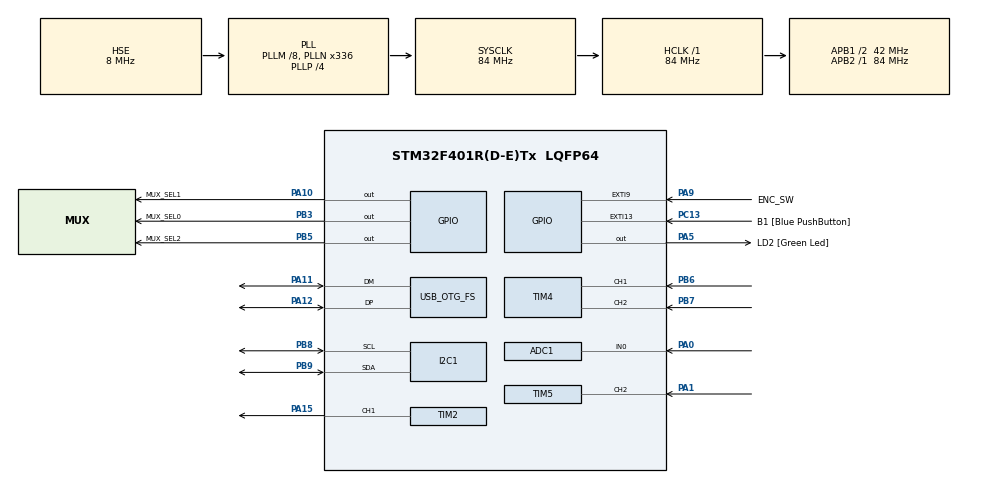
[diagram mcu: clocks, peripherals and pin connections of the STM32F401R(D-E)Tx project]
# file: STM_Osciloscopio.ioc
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ADC1.Channel-0\#ChannelRegularConversion=ADC_CHANNEL_0
ADC1.ClockPrescaler=ADC_CLOCK_SYNC_PCLK_DIV4
ADC1.ContinuousConvMode=DISABLE
ADC1.DMAContinuousRequests=ENABLE
ADC1.EOCSelection=ADC_EOC_SEQ_CONV
ADC1.ExternalTrigConv=ADC_EXTERNALTRIGCONV_T3_TRGO
ADC1.ExternalTrigConvEdge=ADC_EXTERNALTRIGCONVEDGE_RISING
ADC1.NbrOfConversionFlag=1
ADC1.Rank-0\#ChannelRegularConversion=1
ADC1.SamplingTime-0\#ChannelRegularConversion=ADC_SAMPLETIME_3CYCLES
ADC1.ScanConvMode=DISABLE
ADC1.master=1
Dma.ADC1.0.Direction=DMA_PERIPH_TO_MEMORY
Dma.ADC1.0.FIFOMode=DMA_FIFOMODE_DISABLE
Dma.ADC1.0.Instance=DMA2_Stream0
Dma.ADC1.0.MemDataAlignment=DMA_MDATAALIGN_WORD
Dma.ADC1.0.MemInc=DMA_MINC_ENABLE
Dma.ADC1.0.Mode=DMA_NORMAL
Dma.ADC1.0.PeriphDataAlignment=DMA_PDATAALIGN_WORD
Dma.ADC1.0.PeriphInc=DMA_PINC_DISABLE
Dma.ADC1.0.Priority=DMA_PRIORITY_LOW
Dma.Request0=ADC1
FREERTOS.Tasks01=defaultTask,0,128,StartDefaultTask,Default,NULL,Dynamic,NULL,NULL
I2C1.I2C_Mode=I2C_Fast
Mcu.Family=STM32F4
Mcu.Name=STM32F401R(D-E)Tx
Mcu.Package=LQFP64
NVIC.DMA2_Stream0_IRQn=true\:5\:0\:false\:false\:true\:true\:false\:true\:true
NVIC.EXTI9_5_IRQn=true\:5\:0\:false\:false\:true\:true\:true\:true\:true
NVIC.OTG_FS_IRQn=true\:5\:0\:false\:false\:true\:true\:false\:true\:true
NVIC.PriorityGroup=NVIC_PRIORITYGROUP_4
NVIC.TIM1_UP_TIM10_IRQn=true\:15\:0\:false\:false\:true\:false\:false\:true\:true
NVIC.TIM5_IRQn=true\:5\:0\:false\:false\:true\:true\:true\:true\:true
NVIC.TimeBase=TIM1_UP_TIM10_IRQn
NVIC.TimeBaseIP=TIM1
PA0-WKUP.Signal=ADCx_IN0
PA1.Signal=S_TIM5_CH2
PA10.GPIO_Label=MUX_SEL1
PA10.PinState=GPIO_PIN_SET
PA10.Signal=GPIO_Output
PA11.Mode=Device_Only
PA11.Signal=USB_OTG_FS_DM
PA12.Mode=Device_Only
PA12.Signal=USB_OTG_FS_DP
PA13.GPIO_Label=TMS
PA13.Mode=Serial_Wire
PA13.Signal=SYS_JTMS-SWDIO
PA14.GPIO_Label=TCK
PA14.Mode=Serial_Wire
PA14.Signal=SYS_JTCK-SWCLK
PA15.Signal=S_TIM2_CH1_ETR
PA5.GPIO_Label=LD2 [Green Led]
PA5.GPIO_Mode=GPIO_MODE_OUTPUT_PP
PA5.GPIO_PuPd=GPIO_NOPULL
PA5.GPIO_Speed=GPIO_SPEED_FREQ_LOW
PA5.Signal=GPIO_Output
PA9.GPIO_Label=ENC_SW
PA9.GPIO_ModeDefaultEXTI=GPIO_MODE_IT_FALLING
PA9.GPIO_PuPd=GPIO_PULLUP
PA9.Signal=GPXTI9
PB3.GPIO_Label=MUX_SEL0
PB3.PinState=GPIO_PIN_SET
PB3.Signal=GPIO_Output
PB5.GPIO_Label=MUX_SEL2
PB5.GPIO_Speed=GPIO_SPEED_FREQ_LOW
PB5.PinState=GPIO_PIN_SET
PB5.Signal=GPIO_Output
PB6.Signal=S_TIM4_CH1
PB7.Signal=S_TIM4_CH2
PB8.Mode=I2C
PB8.Signal=I2C1_SCL
PB9.Mode=I2C
PB9.Signal=I2C1_SDA
PC13-ANTI_TAMP.GPIO_Label=B1 [Blue PushButton]
PC13-ANTI_TAMP.GPIO_ModeDefaultEXTI=GPIO_MODE_IT_FALLING
PC13-ANTI_TAMP.GPIO_PuPd=GPIO_PULLUP
PC13-ANTI_TAMP.Signal=GPXTI13
PC14-OSC32_IN.Mode=LSE-External-Oscillator
PC14-OSC32_IN.Signal=RCC_OSC32_IN
PC15-OSC32_OUT.Mode=LSE-External-Oscillator
PC15-OSC32_OUT.Signal=RCC_OSC32_OUT
PH0\ -\ OSC_IN.Mode=HSE-External-Clock-Source
PH0\ -\ OSC_IN.Signal=RCC_OSC_IN
PH1\ -\ OSC_OUT.Mode=HSE-External-Clock-Source
PH1\ -\ OSC_OUT.Signal=RCC_OSC_OUT
ProjectManager.HeapSize=0x200
ProjectManager.StackSize=0x400
ProjectManager.TargetToolchain=STM32CubeIDE
RCC.48MHZClocksFreq_Value=48000000
RCC.AHBFreq_Value=84000000
RCC.APB1CLKDivider=RCC_HCLK_DIV2
RCC.APB1Freq_Value=42000000
RCC.APB1TimFreq_Value=84000000
RCC.APB2Freq_Value=84000000
RCC.APB2TimFreq_Value=84000000
RCC.CortexFreq_Value=84000000
RCC.HCLKFreq_Value=84000000
RCC.HSE_VALUE=8000000
RCC.HSI_VALUE=16000000
RCC.PLLM=8
RCC.PLLN=336
RCC.PLLP=RCC_PLLP_DIV4
RCC.PLLQ=7
RCC.SYSCLKFreq_VALUE=84000000
RCC.SYSCLKSource=RCC_SYSCLKSOURCE_PLLCLK
RCC.VCOOutputFreq_Value=336000000
SH.ADCx_IN0.0=ADC1_IN0,IN0
SH.S_TIM2_CH1_ETR.0=TIM2_CH1,Output Compare1 CH1
SH.S_TIM4_CH1.0=TIM4_CH1,Encoder_Interface
SH.S_TIM4_CH2.0=TIM4_CH2,Encoder_Interface
SH.S_TIM5_CH2.0=TIM5_CH2,Input_Capture2_from_TI2
TIM2.Channel-Output\ Compare1\ CH1=TIM_CHANNEL_1
TIM2.OCMode_1=TIM_OCMODE_TOGGLE
TIM2.Period=735
TIM2.Prescaler=1
TIM2.Pulse-Output\ Compare1\ CH1=0
TIM3.Period=60
TIM3.Prescaler=1
TIM3.TIM_MasterOutputTrigger=TIM_TRGO_UPDATE
TIM4.IC1Filter=10
TIM4.IC1Polarity=TIM_ICPOLARITY_FALLING
TIM4.IC2Filter=10
TIM4.IC2Polarity=TIM_ICPOLARITY_FALLING
TIM5.Channel-Input_Capture2_from_TI2=TIM_CHANNEL_2
TIM5.Prescaler=41999
USB_DEVICE.CLASS_NAME_FS=CUSTOM_HID
USB_DEVICE.VirtualMode-CUSTOM_HID_FS=CustomHid
USB_DEVICE.VirtualModeFS=Custom_Hid_FS
USB_OTG_FS.VirtualMode=Device_Only
VP_FREERTOS_VS_CMSIS_V1.Mode=CMSIS_V1
VP_SYS_VS_tim1.Mode=TIM1
VP_TIM3_VS_ClockSourceINT.Mode=Internal
VP_TIM5_VS_ClockSourceINT.Mode=Internal
VP_USB_DEVICE_VS_USB_DEVICE_CUSTOM_HID_FS.Mode=CUSTOM_HID_FS
board=NUCLEO-F401RE

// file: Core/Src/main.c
/* USER CODE BEGIN Header */
/**
  ******************************************************************************
  * @file           : main.c
  * @brief          : Main program body
  ******************************************************************************
  * @attention
  *
  * Copyright (c) 2023 STMicroelectronics.
  * All rights reserved.
  *
  * This software is licensed under terms that can be found in the LICENSE file
  * in the root directory of this software component.
  * If no LICENSE file comes with this software, it is provided AS-IS.
  *
  ******************************************************************************
  */
/* USER CODE END Header */
#include "main.h"
#include "cmsis_os.h"
#include "usb_device.h"

/* USER CODE BEGIN Includes */
#include "ssd1306.h"
#include <math.h>
/* USER CODE END Includes */

/* USER CODE BEGIN PD */

#define ATEN_03		0	//A0
#define ATEN_05		1	//A1
#define AMP_1		2	//A2
#define AMP_3		3	//A3
#define AMP_5		4	//A4
#define AMP_10		5	//A5
#define AMP_31		6	//A6
#define AMP_50		7	//A7

#define MAX_SIZE			512

#define	ENC_F1		1
#define	ENC_F2		2
#define	ENC_F3		3
#define	ENC_F4		4
#define	ENC_F5		5
#define	ENC_F6		6
#define	ENC_F7		7

#define FS_1		42857
#define FS_2		10769
#define FS_3		2675
#define FS_4		667
#define FS_5		168
#define FS_6		60
#define FS_7		30

#define AMPLITUD	0
#define BASE_TEMP	1
#define TRIGGER		2
#define DEBOUNCE	200
#define VALOR_ACT	((int)-1)

  /*
  htim3.Init.Period = 60;	fs = 700kHz  fmin = 7,142KHz	fmax = 28,57kHz
  htim3.Init.Period = 168;	fs = 250kHz  fmin = 2560Hz fmax = 10,24kHz
  htim3.Init.Period = 667;  fs = 63KHz   fmin = 640Hz fmax = 2560Hz

  htim3.Init.Period = 2675; fs=15,7KHz fmin = 160Hz fmax = 640Hz
  htim3.Init.Period = 10769; fs=3,9KHz fmin = 40Hz fmax = 160Hz
  htim3.Init.Period = 42857; fs=980Hz fmin = 10Hz fmax = 40Hz
  */
/* USER CODE END PD */

ADC_HandleTypeDef hadc1;
DMA_HandleTypeDef hdma_adc1;

I2C_HandleTypeDef hi2c1;

TIM_HandleTypeDef htim2;
TIM_HandleTypeDef htim3;
TIM_HandleTypeDef htim4;
TIM_HandleTypeDef htim5;

osThreadId defaultTaskHandle;
/* USER CODE BEGIN PV */
uint8_t buffer_usb[2*MAX_SIZE];
uint32_t buffer_adc[MAX_SIZE];
uint32_t buffer_display[MAX_SIZE/2];

QueueHandle_t qEncoder;
QueueHandle_t qTrigger;
QueueHandle_t qRMS;
QueueHandle_t qDelay;
QueueHandle_t qEscala;
uint32_t freqaux = 0;
uint8_t buffer[0x40] = { 0 };

uint8_t bufferAUX[0x64] = "F010.65KRX.XXVFS7G0";
/*
 * bufferAUX[0] 	= F
 * bufferAUX[7]		= K
 *
 * bufferAUX[8] 	= R
 * bufferAUX[13] 	= V
 *
 * bufferAUX[15]	= A
 * buffer
 *
 *
 *
 * */
//const float parametro;
//const float parametro2;
//								"F010.65KHzR707.7mVA3.3VFS0"
/* USER CODE END PV */

void SystemClock_Config(void);
static void MX_GPIO_Init(void);
static void MX_DMA_Init(void);
static void MX_ADC1_Init(void);
static void MX_I2C1_Init(void);
static void MX_TIM2_Init(void);
static void MX_TIM3_Init(void);
static void MX_TIM5_Init(void);
static void MX_TIM4_Init(void);
void StartDefaultTask(void const * argument);

/* USER CODE BEGIN PFP */
/*
void int_to_char(uint32_t num, char texto[]){

	uint32_t buffer = num;
	int contador = 0;
	int pos = 0;
	int digito = 0;

	while(buffer > 0){
		buffer /= 10;
		contador++;
	}

	texto[contador] = '\0';
	buffer = num;

	pos = contador - 1;

	while(pos >= 0){

		digito = buffer % 10;
		buffer /= 10;
		texto[pos] = digito + '0';
		pos--;
	}
}
*/
void rms_to_char(float rms, char rms_char[]){
	/*RMS = RX.XX/R.XXX*/
	int entero = (int)rms;							// 1,648 --> entero = 1
	int decimal = (int)((rms - entero)*1000);		// 1,648 --> decimal = 648

	int decimal_3 = decimal % 10;					// 1,648 --> dec3 = 8;
	int decimal_2 = (decimal/10) % 10;				// 1,648 --> dec2 = 4;
	int decimal_1 = decimal / 100;					// 1,648 --> dec1 = 6:

	if(entero == 0) {

		rms_char[0] = '.';
		rms_char[1] = decimal_1 + '0';

		if(decimal_3 >= 5 && decimal_2 < 9) rms_char[2] = (decimal_2 + 1) + '0';

		else if(decimal_3 >= 5 && decimal_3 == 9){
			rms_char[1]++;
			rms_char[2] = '0';
		}

		else if(decimal_3 < 5 && decimal_3 >= 0) rms_char[2] = decimal_2 + '0';

		bufferAUX[8] = 'R';
		bufferAUX[9] = rms_char[0];
		bufferAUX[10] = decimal_1 + '0';
		bufferAUX[11] = decimal_2 + '0';
		bufferAUX[12] = decimal_3 + '0';
		bufferAUX[13] = 'V';

	}
	else if(entero > 0){

		rms_char[0] = entero + '0';
		rms_char[1] = '.';

		if(decimal_2 >= 5 && decimal_1 < 9) rms_char[2] = (decimal_1+1) + '0';

		else if(decimal_2 >= 5 && decimal_1 == 9){
			rms_char[0]++;
			rms_char[2] = '0';
		}

		else if(decimal_2 < 5) rms_char[2] = decimal_1 + '0';

		bufferAUX[8] = 'R';
		bufferAUX[9] = entero + '0';
		bufferAUX[10] = '.';
		bufferAUX[11] = decimal_1 + '0';
		bufferAUX[12] = decimal_2 + '0';
		bufferAUX[13] = 'V';
	}
	rms_char[3] = 'V';
	rms_char[4] = '\0';
}

void freq_to_char(uint32_t Frecuencia, uint8_t *pData){

	Frecuencia = (uint32_t)(1.024 * ((float) Frecuencia) -2.1196);

	// Frecuencias entre 100K y 1M
	if(Frecuencia >= 100000 && Frecuencia < 1000000)				//f = 154983
	{
		pData[0] = (uint8_t)((Frecuencia/100000) + '0');			// 154983/ 100000	= 1
		Frecuencia %=100000;										// 154983 % 100000	= 54983
		pData[1] = (uint8_t)((Frecuencia/10000) + '0');				// 54983 / 10000	= 5
		Frecuencia %=10000;											// 54983 % 10000	= 4983
		pData[2] = (uint8_t)((Frecuencia/1000) + '0');				// 4983/ 1000 		= 4
		pData[3] = '.';												//					  ,
		Frecuencia %=1000;											// 4983 % 1000		= 983
		pData[4] = (uint8_t)((Frecuencia/100) + '0');				// 	983	/ 100		= 9
		pData[5] = 'K';
		bufferAUX[1] = pData[0]; //1
		bufferAUX[2] = pData[1];  //5
		bufferAUX[3] = pData[2]; //4
		bufferAUX[4] = pData[3]; //.
		bufferAUX[5] = pData[4]; //9
		Frecuencia  %= 100;
		bufferAUX[6] = (uint8_t)((Frecuencia/10) + '0');
		bufferAUX[7] = pData[5]; //k
	}

	// Frecuencias entre 10K y 100K
	else if(Frecuencia >= 10000 && Frecuencia < 100000){

		pData[0] = (uint8_t)((Frecuencia/10000) + '0'); 			// 15310/10000  = 1
		Frecuencia %=10000;                             			// 15310 % 10000 = 5300
		pData[1] = (uint8_t)((Frecuencia/1000) + '0');  			// 5310 / 1000 = 5
		Frecuencia %= 1000;                             			// 5310 % 1000 = 300
		pData[2] = '.';
		pData[3] = (uint8_t)((Frecuencia/100) + '0');   			// 310 / 100 = 3
		pData[4] = 'K';
		pData[5] = 'H';
		bufferAUX[2] = pData[0];
		bufferAUX[3] = pData[1];
		bufferAUX[4] = pData[2];
		bufferAUX[5] = pData[3];
		Frecuencia  %= 100;
		bufferAUX[6] = (uint8_t)((Frecuencia/10) + '0');
		bufferAUX[7] = pData[4];
	}

	// Frecuencias entre 0 y 9999
	else if(Frecuencia > 0){

		if(Frecuencia <1000){
			pData[0] = ' ';
			bufferAUX[2] = '0';
		} else {
			pData[0] = (uint8_t)((Frecuencia/1000) + '0');		// 9375 / 1000 = 9
			bufferAUX[2] = pData[0];
		}

		Frecuencia %= 1000;                          				// 9375 % 1000 = 375
		if(Frecuencia < 100 && pData[0] == ' '){
			pData[1] = ' ';
			bufferAUX[3] = '0';
		} else {
			pData[1] = (uint8_t)((Frecuencia/100) + '0');  		// 375 / 100 = 3
			bufferAUX[3] = pData[1];
		}

		Frecuencia %= 100;                             				// 375 % 100 = 75
		if(Frecuencia < 10 && pData[1] == ' '){
			pData[2] = ' ';
			bufferAUX[4] = '0';
		} else {
			pData[2] = (uint8_t)((Frecuencia/10) + '0');   		// 75 / 10 = 7
			bufferAUX[4] = pData[2];
		}
		Frecuencia %= 10;                              				// 75 % 10 = 5
		pData[3] = (uint8_t)(Frecuencia + '0');        				// 5

		pData[4] = 'H';
		pData[5] = 'z';
		bufferAUX[5] = pData[3];
		bufferAUX[6] = pData[4];
		bufferAUX[7] = pData[5];
		// F0XX.XXK
		// F0XXXXHz
	}

	pData[6] = '\0';

}

float map(float x, float in_min, float in_max, float out_min, float out_max){

	return (x - in_min) * (out_max - out_min) / (in_max - in_min) + out_min;
}

void display_plot_escala(int contador){

	switch(contador){

		case AMP_1://A2
			ssd1306_SetCursor(115, 55);
			ssd1306_WriteString("x1", Font_6x8, White);
			ssd1306_SetCursor(6, 9);
			ssd1306_WriteString("1,6", Font_6x8, White);
			ssd1306_SetCursor(17, 33);
			ssd1306_WriteString("0", Font_6x8, White);
			ssd1306_SetCursor(0, 56);
			ssd1306_WriteString("-1,6", Font_6x8, White);
		break;

		case AMP_3://A3
			ssd1306_SetCursor(115, 55);
			ssd1306_WriteString("x3", Font_6x8, White);
			ssd1306_SetCursor(6, 9);
			ssd1306_WriteString("0,6", Font_6x8, White);
			ssd1306_SetCursor(17, 33);
			ssd1306_WriteString("0", Font_6x8, White);
			ssd1306_SetCursor(0, 56);
			ssd1306_WriteString("-0,6", Font_6x8, White);
		break;

		case AMP_5://A4
			ssd1306_SetCursor(115, 55);
			ssd1306_WriteString("x5", Font_6x8, White);
			ssd1306_SetCursor(6, 9);
			ssd1306_WriteString("0,3", Font_6x8, White);
			ssd1306_SetCursor(17, 33);
			ssd1306_WriteString("0", Font_6x8, White);
			ssd1306_SetCursor(0, 56);
			ssd1306_WriteString("-0,3", Font_6x8, White);
		break;

		case AMP_10://A5
			ssd1306_SetCursor(109, 55);
			ssd1306_WriteString("x10", Font_6x8, White);
			ssd1306_SetCursor(6, 9);
			ssd1306_WriteString("0,1", Font_6x8, White);
			ssd1306_SetCursor(17, 33);
			ssd1306_WriteString("0", Font_6x8, White);
			ssd1306_SetCursor(0, 56);
			ssd1306_WriteString("-0,1", Font_6x8, White);
		break;

		case AMP_31://A6
			ssd1306_SetCursor(109, 55);
			ssd1306_WriteString("x31", Font_6x8, White);
			ssd1306_SetCursor(6, 9);
			ssd1306_WriteString("52m", Font_6x8, White);
			ssd1306_SetCursor(17, 33);
			ssd1306_WriteString("0", Font_6x8, White);
			ssd1306_SetCursor(0, 56);
			ssd1306_WriteString("-52m", Font_6x8, White);
		break;

		case AMP_50://A7
			ssd1306_SetCursor(109, 55);
			ssd1306_WriteString("x50", Font_6x8, White);
			ssd1306_SetCursor(6, 9);
			ssd1306_WriteString("33m", Font_6x8, White);
			ssd1306_SetCursor(17, 33);
			ssd1306_WriteString("0", Font_6x8, White);
			ssd1306_SetCursor(0, 56);
			ssd1306_WriteString("-33m", Font_6x8, White);
		break;

		case ATEN_03://A0
			ssd1306_SetCursor(109, 55);
			ssd1306_WriteString("x.3", Font_6x8, White);
			ssd1306_SetCursor(17, 9);
			ssd1306_WriteString("6", Font_6x8, White);
			ssd1306_SetCursor(17, 33);
			ssd1306_WriteString("0", Font_6x8, White);
			ssd1306_SetCursor(11, 56);
			ssd1306_WriteString("-6", Font_6x8, White);
		break;

		case ATEN_05://A1
			ssd1306_SetCursor(109, 55);
			ssd1306_WriteString("x.5", Font_6x8, White);
			ssd1306_SetCursor(6, 9);
			ssd1306_WriteString("3,3", Font_6x8, White);
			ssd1306_SetCursor(17, 33);
			ssd1306_WriteString("0", Font_6x8, White);
			ssd1306_SetCursor(0, 56);
			ssd1306_WriteString("-3,3", Font_6x8, White);
		break;

		default://A2
			ssd1306_SetCursor(115, 55);
			ssd1306_WriteString("x1", Font_6x8, White);
			ssd1306_SetCursor(6, 9);
			ssd1306_WriteString("1,6", Font_6x8, White);
			ssd1306_SetCursor(17, 33);
			ssd1306_WriteString("0", Font_6x8, White);
			ssd1306_SetCursor(0, 56);
			ssd1306_WriteString("-1,6", Font_6x8, White);
		break;
	}
}

void display_plot_grilla(void){

	ssd1306_Fill(Black);

	ssd1306_SetCursor(0, 0);

	ssd1306_VLine(26, 9, 55, White);   // left vertical line
	ssd1306_VLine(127, 9, 3, White);   // right vertical line up
	ssd1306_VLine(127, 60, 3, White);  // right vertical line bottom

	ssd1306_HLine(24, 9, 7, White);    // Max value auxiliary mark
	ssd1306_HLine(24, 36, 2, White);
	ssd1306_HLine(24, 63, 7, White);

	ssd1306_HLine(51, 9, 3, White);    // Max value auxiliary mark
	ssd1306_HLine(51, 63, 3, White);

	ssd1306_HLine(76, 9, 3, White);    // Max value auxiliary mark
	ssd1306_HLine(76, 63, 3, White);

	ssd1306_HLine(101, 9, 3, White);   // Max value auxiliary mark
	ssd1306_HLine(101, 63, 3, White);

	ssd1306_HLine(123, 9, 5, White);   // right side Max value auxiliary mark
	ssd1306_HLine(123, 63, 5, White);

	for (int x = 26; x <= 128; x += 5){
	  ssd1306_HLine(x, 36, 2, White);  // Draw the center line (horizontal line) with a dotted line
	}

	for (int x = (127 - 25); x > 30; x -= 25){
		for (int y = 10; y < 63; y += 5){
			ssd1306_VLine(x, y, 2, White); // Draw 3 vertical lines with dotted lines
		}
	}

	//ssd1306_SetCursor(14, 0);
	//ssd1306_WriteString("XX.XKH rmsX.XV XXuS", Font_6x8, White);

}

void display_plot_trigger(int trigger){

	int trigger_actual = 0;

	trigger_actual = map(trigger, 0, 4095, 63, 9);

	// dibujo el triangulo
	ssd1306_VLine(127, trigger_actual-2, 4, White);
	ssd1306_VLine(126, trigger_actual-1, 2, White);
	ssd1306_DrawPixel(125, trigger_actual, White);
}

void display_plot_signal(void){

	int y3 = 0, y4 = 0;
	int x3 = 0, x4 = 0;
	int trigger_point = 1;
	int nivel_trigger = 0;

	if(uxQueueMessagesWaiting(qTrigger) == 1)
		xQueueReceive(qTrigger, &nivel_trigger, portMAX_DELAY);

	for(int i=0; i<=98; i++){

		if((buffer_display[i] > nivel_trigger ) && (buffer_display[i+1]) < nivel_trigger){
			trigger_point = i;
			break;
		}
	}

	for(int k=0; k<=98; k++){

		x3 = k + trigger_point;
		x4 = x3 + 1;

		y3 = map(buffer_display[x3], 0, 4095, 63, 9);
		y4 = map(buffer_display[x4], 0, 4095, 63, 9);

		ssd1306_Line(k + 27, y3, k + 28, y4, White);
	 }
	display_plot_trigger(nivel_trigger);
	if( buffer[0] == '@' || buffer[0] == 'D')
		HAL_ADC_Start_DMA(&hadc1, buffer_adc, MAX_SIZE);
}

void display_plot_rms(void){

	char rms_valor[5];
	static float valor = 0.0;
	static float escala = 1;

	if(uxQueueMessagesWaiting(qEscala) == 1)
	{
		xQueueReceive(qEscala, &escala, portMAX_DELAY);
	}
	if(uxQueueMessagesWaiting(qRMS) == 1 )
	{
		xQueueReceive(qRMS, &valor, portMAX_DELAY);
		valor /= escala;
	}
	rms_to_char(valor, rms_valor);
	ssd1306_SetCursor(56, 0);
	ssd1306_WriteString("rms",Font_6x8,White);
	ssd1306_SetCursor(74, 0);
	ssd1306_WriteString(rms_valor,Font_6x8,White);
}

void display_plot_tiempo(int base_temp){

	ssd1306_SetCursor(104,0);

	switch(base_temp){

		case ENC_F1: ssd1306_WriteString(" 25m", Font_6x8, White);
		break;

		case ENC_F2: ssd1306_WriteString("6.3m", Font_6x8, White);
		break;

		case ENC_F3: ssd1306_WriteString("1,6m", Font_6x8, White);
		break;

		case ENC_F4: ssd1306_WriteString("389u", Font_6x8, White);
		break;

		case ENC_F5: ssd1306_WriteString(" 98u", Font_6x8, White);
		break;

		case ENC_F6: ssd1306_WriteString(" 35u", Font_6x8, White);
		break;

		case ENC_F7: ssd1306_WriteString(" 17u", Font_6x8, White);
		break;
	}
}

void display_plot_freq(int freq){

	uint8_t str_freq[7] = {'\0'};
	static int frecuencia = 0;

	// La variable se actualiza en el callback
	// En el main le voy a mandar -1 para que no actualice el valor
	// Pero que el display siga mostrando un valor
	if(freq >= 0) frecuencia = freq;

	ssd1306_SetCursor(14, 0);
	freq_to_char(frecuencia, str_freq);
	ssd1306_WriteString((char *)str_freq,Font_6x8, White);
}

void display_plot_encoder(int encoder_mode){

	ssd1306_SetCursor(0, 0);

	switch(encoder_mode){

		case AMPLITUD: ssd1306_WriteString("A", Font_6x8, White); break;

		case BASE_TEMP: ssd1306_WriteString("t", Font_6x8, White);break;

		case TRIGGER: ssd1306_WriteString("T", Font_6x8, White); break;
	}
}

void mux_select_escala(int contador){

	switch(contador){

		case AMP_1://A2
			HAL_GPIO_WritePin(MUX_SEL0_GPIO_Port, MUX_SEL0_Pin, GPIO_PIN_RESET);
			HAL_GPIO_WritePin(MUX_SEL1_GPIO_Port, MUX_SEL1_Pin, GPIO_PIN_SET);
			HAL_GPIO_WritePin(MUX_SEL2_GPIO_Port, MUX_SEL2_Pin, GPIO_PIN_RESET);
		break;

		case AMP_3://A3
			HAL_GPIO_WritePin(MUX_SEL0_GPIO_Port, MUX_SEL0_Pin, GPIO_PIN_SET);
			HAL_GPIO_WritePin(MUX_SEL1_GPIO_Port, MUX_SEL1_Pin, GPIO_PIN_SET);
			HAL_GPIO_WritePin(MUX_SEL2_GPIO_Port, MUX_SEL2_Pin, GPIO_PIN_RESET);
		break;

		case AMP_5://A4
			HAL_GPIO_WritePin(MUX_SEL0_GPIO_Port, MUX_SEL0_Pin, GPIO_PIN_RESET);
			HAL_GPIO_WritePin(MUX_SEL1_GPIO_Port, MUX_SEL1_Pin, GPIO_PIN_RESET);
			HAL_GPIO_WritePin(MUX_SEL2_GPIO_Port, MUX_SEL2_Pin, GPIO_PIN_SET);
		break;

		case AMP_10://A5
			HAL_GPIO_WritePin(MUX_SEL0_GPIO_Port, MUX_SEL0_Pin, GPIO_PIN_SET);
			HAL_GPIO_WritePin(MUX_SEL1_GPIO_Port, MUX_SEL1_Pin, GPIO_PIN_RESET);
			HAL_GPIO_WritePin(MUX_SEL2_GPIO_Port, MUX_SEL2_Pin, GPIO_PIN_SET);
		break;

		case AMP_31://A6
			HAL_GPIO_WritePin(MUX_SEL0_GPIO_Port, MUX_SEL0_Pin, GPIO_PIN_RESET);
			HAL_GPIO_WritePin(MUX_SEL1_GPIO_Port, MUX_SEL1_Pin, GPIO_PIN_SET);
			HAL_GPIO_WritePin(MUX_SEL2_GPIO_Port, MUX_SEL2_Pin, GPIO_PIN_SET);
		break;

		case AMP_50://A7
			HAL_GPIO_WritePin(MUX_SEL0_GPIO_Port, MUX_SEL0_Pin, GPIO_PIN_SET);
			HAL_GPIO_WritePin(MUX_SEL1_GPIO_Port, MUX_SEL1_Pin, GPIO_PIN_SET);
			HAL_GPIO_WritePin(MUX_SEL2_GPIO_Port, MUX_SEL2_Pin, GPIO_PIN_SET);
		break;

		case ATEN_03://A0
			HAL_GPIO_WritePin(MUX_SEL0_GPIO_Port, MUX_SEL0_Pin, GPIO_PIN_RESET);
			HAL_GPIO_WritePin(MUX_SEL1_GPIO_Port, MUX_SEL1_Pin, GPIO_PIN_RESET);
			HAL_GPIO_WritePin(MUX_SEL2_GPIO_Port, MUX_SEL2_Pin, GPIO_PIN_RESET);
		break;

		case ATEN_05://A1
			HAL_GPIO_WritePin(MUX_SEL0_GPIO_Port, MUX_SEL0_Pin, GPIO_PIN_SET);
			HAL_GPIO_WritePin(MUX_SEL1_GPIO_Port, MUX_SEL1_Pin, GPIO_PIN_RESET);
			HAL_GPIO_WritePin(MUX_SEL2_GPIO_Port, MUX_SEL2_Pin, GPIO_PIN_RESET);
		break;

		default://A2
			HAL_GPIO_WritePin(MUX_SEL0_GPIO_Port, MUX_SEL0_Pin, GPIO_PIN_RESET);
			HAL_GPIO_WritePin(MUX_SEL1_GPIO_Port, MUX_SEL1_Pin, GPIO_PIN_SET);
			HAL_GPIO_WritePin(MUX_SEL2_GPIO_Port, MUX_SEL2_Pin, GPIO_PIN_RESET);
		break;
	}
}

void ADC_sampling(int periodo){

	int delay = 20;
	if(periodo == FS_1)
	{
		delay = 270;
		xQueueSend(qDelay, &delay, portMAX_DELAY);
	}
	else if(periodo == FS_2)
	{
		delay = 70;
		xQueueSend(qDelay, &delay, portMAX_DELAY);
	}
	else
		xQueueSend(qDelay, &delay, portMAX_DELAY);

	HAL_TIM_Base_Stop(&htim3);

	htim3.Init.Period = periodo;
	HAL_TIM_Base_Init(&htim3);

	HAL_TIM_Base_Start(&htim3);
}

void adc_select_frecuencia(int contador){

	switch(contador){

		case ENC_F1:
			ADC_sampling(FS_1);
			bufferAUX[16] = ENC_F1 + '0';
			break;

		case ENC_F2:
			ADC_sampling(FS_2);
			bufferAUX[16] = ENC_F2 + '0';
			break;

		case ENC_F3:
			ADC_sampling(FS_3);
			bufferAUX[16] = ENC_F3 + '0';
			break;

		case ENC_F4:
			ADC_sampling(FS_4);
			bufferAUX[16] = ENC_F4 + '0';
			break;

		case ENC_F5:
			ADC_sampling(FS_5);
			bufferAUX[16] = ENC_F5 + '0';
			break;

		case ENC_F6:
			ADC_sampling(FS_6);
			bufferAUX[16] = ENC_F6 + '0';
			break;

		case ENC_F7:
			ADC_sampling(FS_7);
			bufferAUX[16] = ENC_F7 + '0';
			break;
	}
}

float modificar_escala(int contador){

	float variable = 1;
	switch(contador){

		case ATEN_03:
			variable = 0.287;
			bufferAUX[18] = ATEN_03 + '0';
			break;

		case ATEN_05:
			variable = 0.5;
			bufferAUX[18] = ATEN_05 + '0';
			break;

		case AMP_1:
			variable = 1;
			bufferAUX[18] = AMP_1 + '0';
			break;

		case AMP_3:
			variable = 3.13;
			bufferAUX[18] = AMP_3 + '0';
			break;

		case AMP_5:
			variable = 5;
			bufferAUX[18] = AMP_5 + '0';
			break;

		case AMP_10:
			variable = 10;
			bufferAUX[18] = AMP_10 + '0';
			break;

		case AMP_31:
			variable = 31.33;
			bufferAUX[18] = AMP_31 + '0';
			break;

		case AMP_50:
			variable = 50;
			bufferAUX[18] = AMP_50 + '0';
			break;
	}
	return variable;
}

void encoder_pos(void){

	static int16_t counter_act = 0;
	static int16_t counter_viejo = 0;

	static int counter_amp = AMP_1;
	static int counter_temp = ENC_F6;
	static int seleccion = 0;
	static int trigger_level = 2090;
	static float scale = 1;

	counter_act = TIM4->CNT/2;

	if(uxQueueMessagesWaiting(qEncoder) == 1)
		xQueueReceive(qEncoder, &seleccion, portMAX_DELAY);

	switch(seleccion){

		case AMPLITUD: //AMPLITUD

			if(counter_act > counter_viejo && counter_amp < 7)
			{
				counter_amp++;
				scale = modificar_escala(counter_amp);
				xQueueSend(qEscala,&scale,portMAX_DELAY);
			}
			else if(counter_act > counter_viejo && counter_amp == 7)
			{
				counter_amp = AMP_1;
				scale = modificar_escala(counter_amp);
				xQueueSend(qEscala,&scale,portMAX_DELAY);
			}

			else if(counter_act < counter_viejo && counter_amp > 0)
			{
				counter_amp--;
				scale = modificar_escala(counter_amp);
				xQueueSend(qEscala,&scale,portMAX_DELAY);
			}

			mux_select_escala(counter_amp);

		break;

		case BASE_TEMP: //BASE TEMPORAL

			if(counter_act > counter_viejo && counter_temp < 7){
				counter_temp++;
				adc_select_frecuencia(counter_temp);
			}

			else if(counter_act < counter_viejo && counter_temp > 1){
				counter_temp--;
				adc_select_frecuencia(counter_temp);
			}

			break;

		case TRIGGER: // NIVEL TRIGGER

			if(counter_act > counter_viejo && trigger_level < 3990)
				trigger_level+=100;

			else if(counter_act > counter_viejo && trigger_level == 3990)
				trigger_level = 90;

			if(counter_act < counter_viejo && trigger_level >= 190)
				trigger_level-=100;
			else if(counter_act < counter_viejo && trigger_level == 90)
				trigger_level = 3990;
		break;

		default: break;
	}
	xQueueSend(qTrigger,&trigger_level,portMAX_DELAY);

	display_plot_escala(counter_amp);
	display_plot_tiempo(counter_temp);
	display_plot_encoder(seleccion);

	counter_viejo = counter_act;
}
/* ------------------------ Tareas Free RTOS ------------------------ */

void Init_Sistema(void *pvParameters){

	ssd1306_Init();
	MX_USB_DEVICE_Init();
	HAL_TIM_OC_Start(&htim2, TIM_CHANNEL_1);
	HAL_ADC_Start_DMA(&hadc1, buffer_adc, MAX_SIZE);
	HAL_TIM_Base_Start(&htim3);
	HAL_TIM_IC_Start_IT(&htim5, TIM_CHANNEL_2);
	HAL_TIM_Encoder_Start_IT(&htim4, TIM_CHANNEL_ALL);
	mux_select_escala(AMP_1);
	buffer[0] = '@';
	vTaskDelete(NULL);
}

void Mostrar_pantalla(void *pvParameters){

	int delay_display = 0;
	while(1){

		if(uxQueueMessagesWaiting(qDelay) == 1)
			xQueueReceive(qDelay, &delay_display, portMAX_DELAY);

		display_plot_grilla();
		display_plot_signal();
		display_plot_freq(VALOR_ACT);
		display_plot_rms();
		encoder_pos();
		ssd1306_UpdateScreen();
		vTaskDelay(delay_display/portTICK_RATE_MS);
	}
}

void Cambiar_Modo(void *pvParameters){

}

void Enviar_USB(void *pvParameters){

}

/* --------------------------- Callbacks --------------------------- */

void HAL_GPIO_EXTI_Callback(uint16_t GPIO_Pin){

	BaseType_t xHigherPriorityTaskWoken = pdFALSE;

	static uint32_t previousMillis = 0;
	uint32_t currentMillis = 0;
	static int encoder = 0;

	currentMillis = HAL_GetTick();
	if (GPIO_Pin == GPIO_PIN_9 && (currentMillis - previousMillis > DEBOUNCE))
	{
		previousMillis = currentMillis;
		encoder++;
		encoder%=3;

		xQueueSendFromISR(qEncoder,&encoder,&xHigherPriorityTaskWoken);
		portYIELD_FROM_ISR( xHigherPriorityTaskWoken )
	}
}

void HAL_ADC_ConvHalfCpltCallback(ADC_HandleTypeDef* hadc){

	for(int i = 0; i<MAX_SIZE/2; i++){
		buffer_display[i] = buffer_adc[i];
		buffer_usb[i] = buffer_adc[i];
	}
}

void HAL_ADC_ConvCpltCallback(ADC_HandleTypeDef* hadc){

	BaseType_t xHigherPriorityTaskWoken = pdFALSE;

	float mean = 0.0;
	float suma = 0.0;
	float valorMax = 0.0;
	float RMS = 0.0;

	for(int i = 0; i<MAX_SIZE/2; i++){

		buffer_display[i] = buffer_adc[i+256];
		buffer_usb[i + 256] = buffer_adc[i +256];
		mean += buffer_adc[i];
	}

	mean = 2*mean/MAX_SIZE;
	int j = 0;
	for(int i=0; i<MAX_SIZE; i++){
		buffer_usb[j] = (uint8_t)((buffer_adc[i]>>8)&0xFF);
		buffer_usb[j+1] = (uint8_t)((buffer_adc[i])&0xFF);
		j+=2;
		suma = (float)(buffer_adc[i]) - mean;
		suma = suma*(3.3/4095);
		valorMax = suma*suma+valorMax;
	}
	RMS = sqrt((valorMax / MAX_SIZE));
	valorMax = 0;

	xQueueSendFromISR(qRMS,&RMS,&xHigherPriorityTaskWoken);
	portYIELD_FROM_ISR( xHigherPriorityTaskWoken );
}

void HAL_TIM_IC_CaptureCallback(TIM_HandleTypeDef *htim){

	static uint32_t tiempo_init = 0;
	static uint32_t tiempo_act = 0;
	static uint32_t freq = 0;

	if(!freq) tiempo_init = TIM5->CNT;

	tiempo_act = TIM5->CNT;

	if((tiempo_act - tiempo_init) < 2000) freq++;

	else{
		display_plot_freq(freq);
		freqaux = freq;
		freq = 0;

	}
}

/* USER CODE END PFP */

int main(void)
{

  /* MCU Configuration--------------------------------------------------------*/

  /* Reset of all peripherals, Initializes the Flash interface and the Systick. */
  HAL_Init();

  /* Configure the system clock */
  SystemClock_Config();

  /* Initialize all configured peripherals */
  MX_GPIO_Init();
  MX_DMA_Init();
  MX_ADC1_Init();
  MX_I2C1_Init();
  MX_TIM2_Init();
  MX_TIM3_Init();
  MX_TIM5_Init();
  MX_TIM4_Init();

  /* USER CODE BEGIN RTOS_QUEUES */
  qEncoder = xQueueCreate(1,sizeof(int));
  qTrigger = xQueueCreate(1,sizeof(int));
  qRMS = xQueueCreate(1,sizeof(float));
  qDelay = xQueueCreate(1,sizeof(int));
  qEscala = xQueueCreate(1,sizeof(float));
  /* USER CODE END RTOS_QUEUES */

  /* Create the thread(s) */
  /* definition and creation of defaultTask */

  /* USER CODE BEGIN RTOS_THREADS */
  /* add threads, ... */

  xTaskCreate(Init_Sistema,"INICIALIZAR",configMINIMAL_STACK_SIZE, NULL, tskIDLE_PRIORITY+3, NULL);
  xTaskCreate(Mostrar_pantalla, "PANTALLA", configMINIMAL_STACK_SIZE, NULL, tskIDLE_PRIORITY+1, NULL);

  //xTaskCreate(Enviar_USB,"USB", configMINIMAL_STACK_SIZE, NULL, tskIDLE_PRIORITY+1, NULL);
  //xTaskCreate(Cambiar_Modo,"MODO",configMINIMAL_STACK_SIZE, NULL, tskIDLE_PRIORITY+1, NULL);

  /* USER CODE END RTOS_THREADS */

  /* Start scheduler */

  /* We should never get here as control is now taken by the scheduler */
  /* Infinite loop */
  /* USER CODE BEGIN WHILE */
 // Init_Sistema(NULL);
  vTaskStartScheduler();
  while(1){
    /* USER CODE END WHILE */

  }
}

void SystemClock_Config(void)
{
  RCC_OscInitTypeDef RCC_OscInitStruct = {0};
  RCC_ClkInitTypeDef RCC_ClkInitStruct = {0};

  /** Configure the main internal regulator output voltage
  */
  __HAL_RCC_PWR_CLK_ENABLE();
  __HAL_PWR_VOLTAGESCALING_CONFIG(PWR_REGULATOR_VOLTAGE_SCALE2);

  /** Initializes the RCC Oscillators according to the specified parameters
  * in the RCC_OscInitTypeDef structure.
  */
  RCC_OscInitStruct.OscillatorType = RCC_OSCILLATORTYPE_HSE;
  RCC_OscInitStruct.HSEState = RCC_HSE_BYPASS;
  RCC_OscInitStruct.PLL.PLLState = RCC_PLL_ON;
  RCC_OscInitStruct.PLL.PLLSource = RCC_PLLSOURCE_HSE;
  RCC_OscInitStruct.PLL.PLLM = 8;
  RCC_OscInitStruct.PLL.PLLN = 336;
  RCC_OscInitStruct.PLL.PLLP = RCC_PLLP_DIV4;
  RCC_OscInitStruct.PLL.PLLQ = 7;
  if (HAL_RCC_OscConfig(&RCC_OscInitStruct) != HAL_OK)
  {
    Error_Handler();
  }

  /** Initializes the CPU, AHB and APB buses clocks
  */
  RCC_ClkInitStruct.ClockType = RCC_CLOCKTYPE_HCLK|RCC_CLOCKTYPE_SYSCLK
                              |RCC_CLOCKTYPE_PCLK1|RCC_CLOCKTYPE_PCLK2;
  RCC_ClkInitStruct.SYSCLKSource = RCC_SYSCLKSOURCE_PLLCLK;
  RCC_ClkInitStruct.AHBCLKDivider = RCC_SYSCLK_DIV1;
  RCC_ClkInitStruct.APB1CLKDivider = RCC_HCLK_DIV2;
  RCC_ClkInitStruct.APB2CLKDivider = RCC_HCLK_DIV1;

  if (HAL_RCC_ClockConfig(&RCC_ClkInitStruct, FLASH_LATENCY_2) != HAL_OK)
  {
    Error_Handler();
  }
}

static void MX_ADC1_Init(void)
{

  ADC_ChannelConfTypeDef sConfig = {0};

  /** Configure the global features of the ADC (Clock, Resolution, Data Alignment and number of conversion)
  */
  hadc1.Instance = ADC1;
  hadc1.Init.ClockPrescaler = ADC_CLOCK_SYNC_PCLK_DIV4;
  hadc1.Init.Resolution = ADC_RESOLUTION_12B;
  hadc1.Init.ScanConvMode = DISABLE;
  hadc1.Init.ContinuousConvMode = DISABLE;
  hadc1.Init.DiscontinuousConvMode = DISABLE;
  hadc1.Init.ExternalTrigConvEdge = ADC_EXTERNALTRIGCONVEDGE_RISING;
  hadc1.Init.ExternalTrigConv = ADC_EXTERNALTRIGCONV_T3_TRGO;
  hadc1.Init.DataAlign = ADC_DATAALIGN_RIGHT;
  hadc1.Init.NbrOfConversion = 1;
  hadc1.Init.DMAContinuousRequests = ENABLE;
  hadc1.Init.EOCSelection = ADC_EOC_SEQ_CONV;
  if (HAL_ADC_Init(&hadc1) != HAL_OK)
  {
    Error_Handler();
  }

  /** Configure for the selected ADC regular channel its corresponding rank in the sequencer and its sample time.
  */
  sConfig.Channel = ADC_CHANNEL_0;
  sConfig.Rank = 1;
  sConfig.SamplingTime = ADC_SAMPLETIME_3CYCLES;
  if (HAL_ADC_ConfigChannel(&hadc1, &sConfig) != HAL_OK)
  {
    Error_Handler();
  }

}

static void MX_I2C1_Init(void)
{

  hi2c1.Instance = I2C1;
  hi2c1.Init.ClockSpeed = 400000;
  hi2c1.Init.DutyCycle = I2C_DUTYCYCLE_2;
  hi2c1.Init.OwnAddress1 = 0;
  hi2c1.Init.AddressingMode = I2C_ADDRESSINGMODE_7BIT;
  hi2c1.Init.DualAddressMode = I2C_DUALADDRESS_DISABLE;
  hi2c1.Init.OwnAddress2 = 0;
  hi2c1.Init.GeneralCallMode = I2C_GENERALCALL_DISABLE;
  hi2c1.Init.NoStretchMode = I2C_NOSTRETCH_DISABLE;
  if (HAL_I2C_Init(&hi2c1) != HAL_OK)
  {
    Error_Handler();
  }

}

static void MX_TIM2_Init(void)
{

  TIM_MasterConfigTypeDef sMasterConfig = {0};
  TIM_OC_InitTypeDef sConfigOC = {0};

  htim2.Instance = TIM2;
  htim2.Init.Prescaler = 1;
  htim2.Init.CounterMode = TIM_COUNTERMODE_UP;
  htim2.Init.Period = 73;
  htim2.Init.ClockDivision = TIM_CLOCKDIVISION_DIV1;
  htim2.Init.AutoReloadPreload = TIM_AUTORELOAD_PRELOAD_DISABLE;
  if (HAL_TIM_OC_Init(&htim2) != HAL_OK)
  {
    Error_Handler();
  }
  sMasterConfig.MasterOutputTrigger = TIM_TRGO_RESET;
  sMasterConfig.MasterSlaveMode = TIM_MASTERSLAVEMODE_DISABLE;
  if (HAL_TIMEx_MasterConfigSynchronization(&htim2, &sMasterConfig) != HAL_OK)
  {
    Error_Handler();
  }
  sConfigOC.OCMode = TIM_OCMODE_TOGGLE;
  sConfigOC.Pulse = 0;
  sConfigOC.OCPolarity = TIM_OCPOLARITY_HIGH;
  sConfigOC.OCFastMode = TIM_OCFAST_DISABLE;
  if (HAL_TIM_OC_ConfigChannel(&htim2, &sConfigOC, TIM_CHANNEL_1) != HAL_OK)
  {
    Error_Handler();
  }
  HAL_TIM_MspPostInit(&htim2);

}

static void MX_TIM3_Init(void)
{

  /* USER CODE BEGIN TIM3_Init 0 */
		//TIMER TRIGGER
  /* USER CODE END TIM3_Init 0 */

  TIM_ClockConfigTypeDef sClockSourceConfig = {0};
  TIM_MasterConfigTypeDef sMasterConfig = {0};

  /* USER CODE BEGIN TIM3_Init 1 */
  /*
  htim3.Init.Period = 60;	fs = 700kHz  fmin = 7,142KHz	fmax = 28,57kHz
  htim3.Init.Period = 168;	fs = 250kHz  fmin = 2560Hz fmax = 10,24kHz
  htim3.Init.Period = 667;  fs = 63KHz   fmin = 640Hz fmax = 2560Hz

  htim3.Init.Period = 2675; fs=15,7KHz fmin = 160Hz fmax = 640Hz
  htim3.Init.Period = 10769; fs=3,9KHz fmin = 40Hz fmax = 160Hz
  htim3.Init.Period = 42857; fs=980Hz fmin = 10Hz fmax = 40Hz
  */
  /* USER CODE END TIM3_Init 1 */
  htim3.Instance = TIM3;
  htim3.Init.Prescaler = 1;
  htim3.Init.CounterMode = TIM_COUNTERMODE_UP;
  htim3.Init.Period = 60;
  htim3.Init.ClockDivision = TIM_CLOCKDIVISION_DIV1;
  htim3.Init.AutoReloadPreload = TIM_AUTORELOAD_PRELOAD_DISABLE;
  if (HAL_TIM_Base_Init(&htim3) != HAL_OK)
  {
    Error_Handler();
  }
  sClockSourceConfig.ClockSource = TIM_CLOCKSOURCE_INTERNAL;
  if (HAL_TIM_ConfigClockSource(&htim3, &sClockSourceConfig) != HAL_OK)
  {
    Error_Handler();
  }
  sMasterConfig.MasterOutputTrigger = TIM_TRGO_UPDATE;
  sMasterConfig.MasterSlaveMode = TIM_MASTERSLAVEMODE_DISABLE;
  if (HAL_TIMEx_MasterConfigSynchronization(&htim3, &sMasterConfig) != HAL_OK)
  {
    Error_Handler();
  }

}

static void MX_TIM4_Init(void)
{

  TIM_Encoder_InitTypeDef sConfig = {0};
  TIM_MasterConfigTypeDef sMasterConfig = {0};

  htim4.Instance = TIM4;
  htim4.Init.Prescaler = 0;
  htim4.Init.CounterMode = TIM_COUNTERMODE_UP;
  htim4.Init.Period = 65535;
  htim4.Init.ClockDivision = TIM_CLOCKDIVISION_DIV1;
  htim4.Init.AutoReloadPreload = TIM_AUTORELOAD_PRELOAD_DISABLE;
  sConfig.EncoderMode = TIM_ENCODERMODE_TI1;
  sConfig.IC1Polarity = TIM_ICPOLARITY_FALLING;
  sConfig.IC1Selection = TIM_ICSELECTION_DIRECTTI;
  sConfig.IC1Prescaler = TIM_ICPSC_DIV1;
  sConfig.IC1Filter = 10;
  sConfig.IC2Polarity = TIM_ICPOLARITY_FALLING;
  sConfig.IC2Selection = TIM_ICSELECTION_DIRECTTI;
  sConfig.IC2Prescaler = TIM_ICPSC_DIV1;
  sConfig.IC2Filter = 10;
  if (HAL_TIM_Encoder_Init(&htim4, &sConfig) != HAL_OK)
  {
    Error_Handler();
  }
  sMasterConfig.MasterOutputTrigger = TIM_TRGO_RESET;
  sMasterConfig.MasterSlaveMode = TIM_MASTERSLAVEMODE_DISABLE;
  if (HAL_TIMEx_MasterConfigSynchronization(&htim4, &sMasterConfig) != HAL_OK)
  {
    Error_Handler();
  }

}

static void MX_TIM5_Init(void)
{

  TIM_ClockConfigTypeDef sClockSourceConfig = {0};
  TIM_MasterConfigTypeDef sMasterConfig = {0};
  TIM_IC_InitTypeDef sConfigIC = {0};

  htim5.Instance = TIM5;
  htim5.Init.Prescaler = 41999;
  htim5.Init.CounterMode = TIM_COUNTERMODE_UP;
  htim5.Init.Period = 4294967295;
  htim5.Init.ClockDivision = TIM_CLOCKDIVISION_DIV1;
  htim5.Init.AutoReloadPreload = TIM_AUTORELOAD_PRELOAD_DISABLE;
  if (HAL_TIM_Base_Init(&htim5) != HAL_OK)
  {
    Error_Handler();
  }
  sClockSourceConfig.ClockSource = TIM_CLOCKSOURCE_INTERNAL;
  if (HAL_TIM_ConfigClockSource(&htim5, &sClockSourceConfig) != HAL_OK)
  {
    Error_Handler();
  }
  if (HAL_TIM_IC_Init(&htim5) != HAL_OK)
  {
    Error_Handler();
  }
  sMasterConfig.MasterOutputTrigger = TIM_TRGO_RESET;
  sMasterConfig.MasterSlaveMode = TIM_MASTERSLAVEMODE_DISABLE;
  if (HAL_TIMEx_MasterConfigSynchronization(&htim5, &sMasterConfig) != HAL_OK)
  {
    Error_Handler();
  }
  sConfigIC.ICPolarity = TIM_INPUTCHANNELPOLARITY_RISING;
  sConfigIC.ICSelection = TIM_ICSELECTION_DIRECTTI;
  sConfigIC.ICPrescaler = TIM_ICPSC_DIV1;
  sConfigIC.ICFilter = 0;
  if (HAL_TIM_IC_ConfigChannel(&htim5, &sConfigIC, TIM_CHANNEL_2) != HAL_OK)
  {
    Error_Handler();
  }

}

static void MX_DMA_Init(void)
{

  /* DMA controller clock enable */
  __HAL_RCC_DMA2_CLK_ENABLE();

  /* DMA interrupt init */
  /* DMA2_Stream0_IRQn interrupt configuration */
  HAL_NVIC_SetPriority(DMA2_Stream0_IRQn, 5, 0);
  HAL_NVIC_EnableIRQ(DMA2_Stream0_IRQn);

}

static void MX_GPIO_Init(void)
{
  GPIO_InitTypeDef GPIO_InitStruct = {0};

  /* GPIO Ports Clock Enable */
  __HAL_RCC_GPIOC_CLK_ENABLE();
  __HAL_RCC_GPIOH_CLK_ENABLE();
  __HAL_RCC_GPIOA_CLK_ENABLE();
  __HAL_RCC_GPIOB_CLK_ENABLE();

  /*Configure GPIO pin Output Level */
  HAL_GPIO_WritePin(LD2_GPIO_Port, LD2_Pin, GPIO_PIN_RESET);

  /*Configure GPIO pin Output Level */
  HAL_GPIO_WritePin(MUX_SEL1_GPIO_Port, MUX_SEL1_Pin, GPIO_PIN_SET);

  /*Configure GPIO pin Output Level */
  HAL_GPIO_WritePin(GPIOB, MUX_SEL0_Pin|MUX_SEL2_Pin, GPIO_PIN_SET);

  /*Configure GPIO pin : B1_Pin */
  GPIO_InitStruct.Pin = B1_Pin;
  GPIO_InitStruct.Mode = GPIO_MODE_IT_FALLING;
  GPIO_InitStruct.Pull = GPIO_PULLUP;
  HAL_GPIO_Init(B1_GPIO_Port, &GPIO_InitStruct);

  /*Configure GPIO pins : LD2_Pin MUX_SEL1_Pin */
  GPIO_InitStruct.Pin = LD2_Pin|MUX_SEL1_Pin;
  GPIO_InitStruct.Mode = GPIO_MODE_OUTPUT_PP;
  GPIO_InitStruct.Pull = GPIO_NOPULL;
  GPIO_InitStruct.Speed = GPIO_SPEED_FREQ_LOW;
  HAL_GPIO_Init(GPIOA, &GPIO_InitStruct);

  /*Configure GPIO pin : ENC_SW_Pin */
  GPIO_InitStruct.Pin = ENC_SW_Pin;
  GPIO_InitStruct.Mode = GPIO_MODE_IT_FALLING;
  GPIO_InitStruct.Pull = GPIO_PULLUP;
  HAL_GPIO_Init(ENC_SW_GPIO_Port, &GPIO_InitStruct);

  /*Configure GPIO pins : MUX_SEL0_Pin MUX_SEL2_Pin */
  GPIO_InitStruct.Pin = MUX_SEL0_Pin|MUX_SEL2_Pin;
  GPIO_InitStruct.Mode = GPIO_MODE_OUTPUT_PP;
  GPIO_InitStruct.Pull = GPIO_NOPULL;
  GPIO_InitStruct.Speed = GPIO_SPEED_FREQ_LOW;
  HAL_GPIO_Init(GPIOB, &GPIO_InitStruct);

  /* EXTI interrupt init*/
  HAL_NVIC_SetPriority(EXTI9_5_IRQn, 5, 0);
  HAL_NVIC_EnableIRQ(EXTI9_5_IRQn);

}

void StartDefaultTask(void const * argument)
{
  /* init code for USB_DEVICE */
  MX_USB_DEVICE_Init();
  for(;;)
  {
    osDelay(1);
  }
}

void HAL_TIM_PeriodElapsedCallback(TIM_HandleTypeDef *htim)
{
  if (htim->Instance == TIM1) {
    HAL_IncTick();
  }
}

void Error_Handler(void)
{
  __disable_irq();
  while (1)
  {
  }
}
